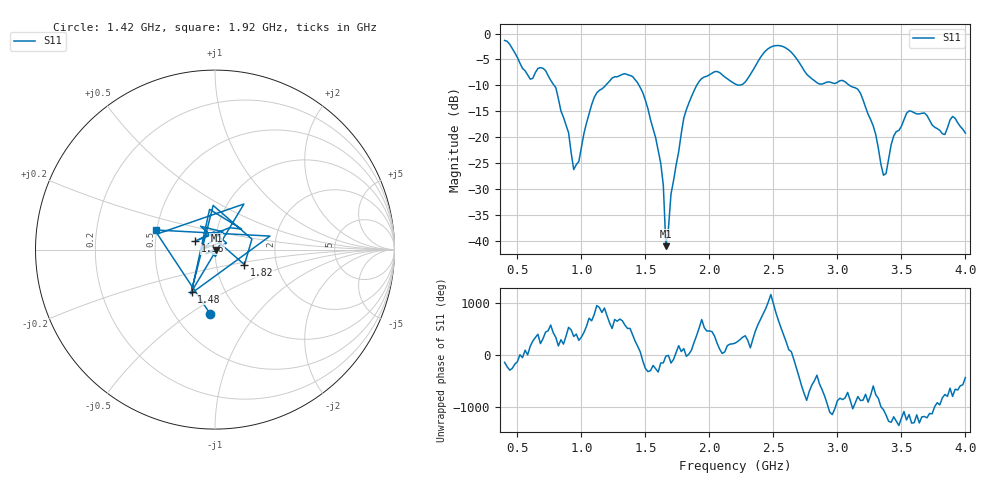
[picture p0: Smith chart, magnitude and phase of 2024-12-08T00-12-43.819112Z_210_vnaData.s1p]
!Created with skrf (http://scikit-rf.org).
# Hz S RI R 50.0
!freq ReS11 ImS11
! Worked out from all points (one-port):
!   181 points, 400 MHz to 4 GHz, reference 50 ohm
!   lowest |S11| = -41.1 dB at 1.66 GHz (marker M1), VSWR 1.02, Z = 50.8 - j0.361 ohm
!   |S11| at or under -10 dB: 786.7 MHz to 1.189 GHz (402.6 MHz wide, 40.7 % of centre); 1.45 GHz to 1.901 GHz (450.5 MHz wide, 26.9 % of centre); 3.095 GHz to end of sweep
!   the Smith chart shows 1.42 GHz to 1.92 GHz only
!   S11 on the Smith chart (normalised r, x): 1.42 GHz: 0.74, -0.60; 1.48 GHz: 0.70, -0.35; 1.56 GHz: 0.80, +0.08; 1.82 GHz: 1.37, -0.24; 1.92 GHz: 0.50, +0.12
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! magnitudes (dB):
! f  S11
! 400 MHz  -1.3
! 600 MHz  -8.8
! 720 MHz  -7.1
! 860 MHz  -16.2
! 940 MHz  -26.3
! 1.1 GHz  -12.3
! 1.3 GHz  -8.1
! 1.42 GHz  -8.9
! 1.48 GHz  -11.4
! 1.56 GHz  -18.4
! 1.64 GHz  -29.3
! 1.66 GHz  -41.1
! 1.7 GHz  -31.0
! 1.76 GHz  -22.8
! 1.82 GHz  -14.7
! 1.92 GHz  -9.2
! 2.2 GHz  -9.7
! 2.48 GHz  -2.6
! 2.66 GHz  -4.2
! 2.84 GHz  -9.5
! 3.1 GHz  -10.1
! 3.28 GHz  -17.8
! 3.36 GHz  -27.4
! 3.44 GHz  -19.8
! 3.56 GHz  -14.9
! 3.84 GHz  -19.5
! 3.9 GHz  -16.0
! 4 GHz  -19.2
